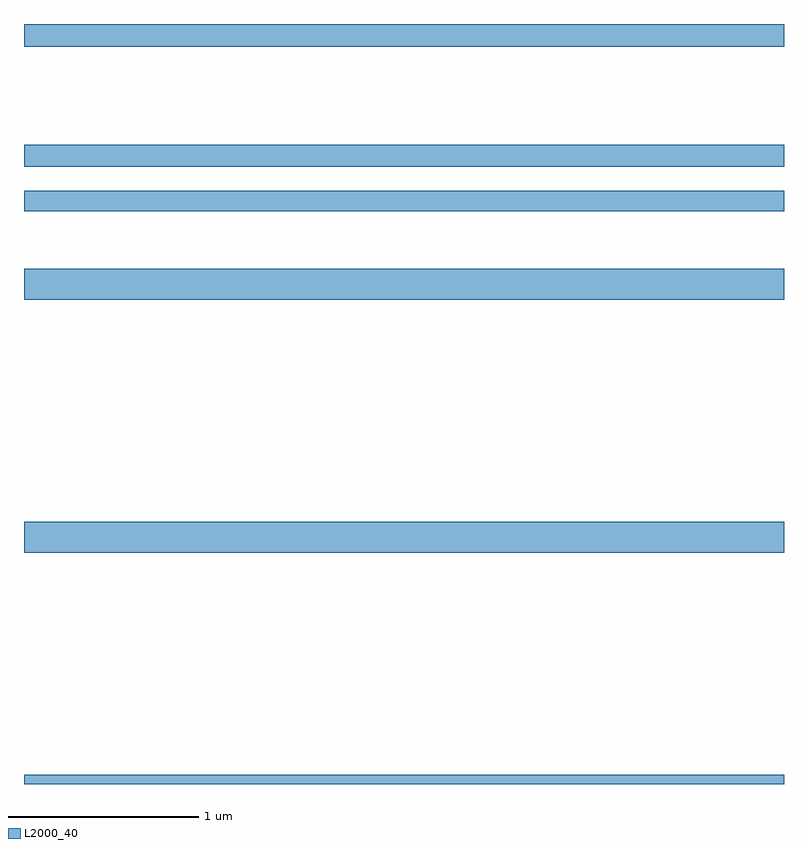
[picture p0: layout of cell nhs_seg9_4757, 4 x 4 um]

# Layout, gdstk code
import gdstk
lib = gdstk.Library(unit=1e-6, precision=1e-09)
def R(c, l, rs):  # rectangles x0, y0, x1, y1
    for r in rs: c.add(gdstk.rectangle(r[:2], r[2:], *l))
L2000_40 = (2000, 40)

nhs_seg9_4757 = lib.new_cell('nhs_seg9_4757')
R(nhs_seg9_4757, L2000_40, [(385,1232.5,389,1232.548), (385,1233.716,389,1233.88), (385,1235.048,389,1235.212), (385,1235.514,389,1235.622), (385,1235.748,389,1235.864), (385,1236.38,389,1236.5)])

lib.write_gds('nhs_seg9_4757.gds')
